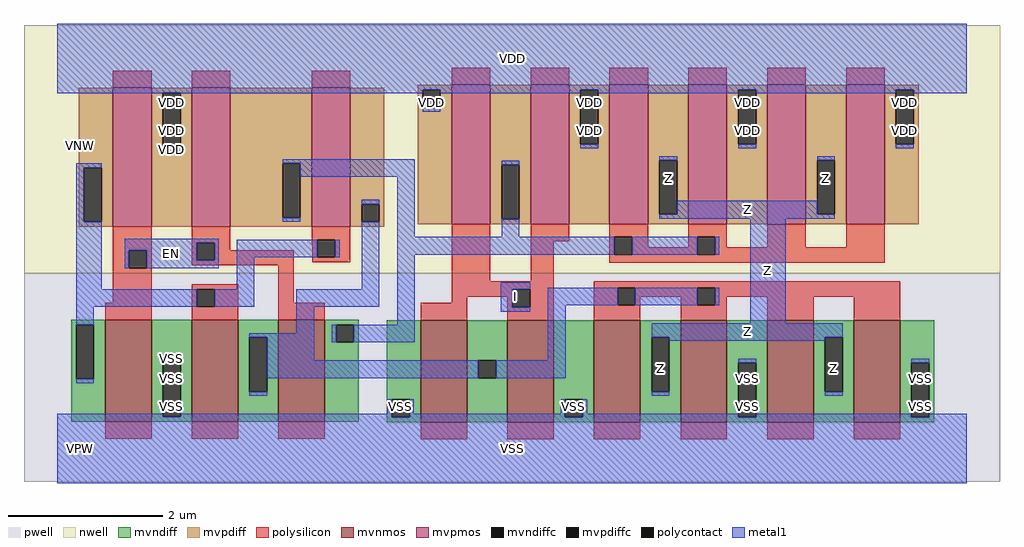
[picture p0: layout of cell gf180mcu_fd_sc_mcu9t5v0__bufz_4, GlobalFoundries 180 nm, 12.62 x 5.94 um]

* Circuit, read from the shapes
.subckt gf180mcu_fd_sc_mcu9t5v0__bufz_4 EN I Z VDD VNW VPW VSS
XM1 VSS EN n1 VPW nfet_06v0 w=1.32u l=0.6u
XM2 n2 n1 VSS VPW nfet_06v0 w=1.32u l=0.6u
XM3 n3 EN n2 VPW nfet_06v0 w=1.32u l=0.6u
XM4 n2 I VSS VPW nfet_06v0 w=1.32u l=0.6u m=2
XM5 Z n2 VSS VPW nfet_06v0 w=1.32u l=0.6u m=4
XM6 VDD EN n1 VNW pfet_06v0 w=1.8u l=0.5u
XM7 n3 EN VDD VNW pfet_06v0 w=1.8u l=0.5u
XM8 n2 n1 n3 VNW pfet_06v0 w=1.8u l=0.5u
XM9 n3 I VDD VNW pfet_06v0 w=1.8u l=0.5u m=2
XM10 Z n3 VDD VNW pfet_06v0 w=1.8u l=0.5u m=4
.ends

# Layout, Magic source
magic
tech gf180mcuD
magscale 1 10
<< nwell >>
rect -86 453 2438 1094
<< pwell >>
rect -86 -86 2438 453
<< mvnmos >>
rect 124 69 244 333
rect 348 69 468 333
rect 572 69 692 333
rect 940 68 1060 332
rect 1164 68 1284 332
rect 1388 68 1508 332
rect 1612 68 1732 332
rect 1836 68 1956 332
rect 2060 68 2180 332
<< mvpmos >>
rect 144 573 244 933
rect 348 573 448 933
rect 658 573 758 933
rect 1020 580 1120 940
rect 1224 580 1324 940
rect 1428 580 1528 940
rect 1632 580 1732 940
rect 1836 580 1936 940
rect 2040 580 2140 940
<< mvndiff >>
rect 36 320 124 333
rect 36 180 49 320
rect 95 180 124 320
rect 36 69 124 180
rect 244 222 348 333
rect 244 82 273 222
rect 319 82 348 222
rect 244 69 348 82
rect 468 287 572 333
rect 468 147 497 287
rect 543 147 572 287
rect 468 69 572 147
rect 692 320 780 333
rect 692 274 721 320
rect 767 274 780 320
rect 692 69 780 274
rect 852 127 940 332
rect 852 81 865 127
rect 911 81 940 127
rect 852 68 940 81
rect 1060 228 1164 332
rect 1060 182 1089 228
rect 1135 182 1164 228
rect 1060 68 1164 182
rect 1284 127 1388 332
rect 1284 81 1313 127
rect 1359 81 1388 127
rect 1284 68 1388 81
rect 1508 287 1612 332
rect 1508 147 1537 287
rect 1583 147 1612 287
rect 1508 68 1612 147
rect 1732 221 1836 332
rect 1732 81 1761 221
rect 1807 81 1836 221
rect 1732 68 1836 81
rect 1956 287 2060 332
rect 1956 147 1985 287
rect 2031 147 2060 287
rect 1956 68 2060 147
rect 2180 221 2268 332
rect 2180 81 2209 221
rect 2255 81 2268 221
rect 2180 68 2268 81
<< mvpdiff >>
rect 56 726 144 933
rect 56 586 69 726
rect 115 586 144 726
rect 56 573 144 586
rect 244 920 348 933
rect 244 780 273 920
rect 319 780 348 920
rect 244 573 348 780
rect 448 737 658 933
rect 448 597 583 737
rect 629 597 658 737
rect 448 573 658 597
rect 758 632 846 933
rect 758 586 787 632
rect 833 586 846 632
rect 758 573 846 586
rect 932 927 1020 940
rect 932 881 945 927
rect 991 881 1020 927
rect 932 580 1020 881
rect 1120 733 1224 940
rect 1120 593 1149 733
rect 1195 593 1224 733
rect 1120 580 1224 593
rect 1324 927 1428 940
rect 1324 787 1353 927
rect 1399 787 1428 927
rect 1324 580 1428 787
rect 1528 745 1632 940
rect 1528 605 1557 745
rect 1603 605 1632 745
rect 1528 580 1632 605
rect 1732 927 1836 940
rect 1732 787 1761 927
rect 1807 787 1836 927
rect 1732 580 1836 787
rect 1936 745 2040 940
rect 1936 605 1965 745
rect 2011 605 2040 745
rect 1936 580 2040 605
rect 2140 927 2228 940
rect 2140 787 2169 927
rect 2215 787 2228 927
rect 2140 580 2228 787
<< mvndiffc >>
rect 49 180 95 320
rect 273 82 319 222
rect 497 147 543 287
rect 721 274 767 320
rect 865 81 911 127
rect 1089 182 1135 228
rect 1313 81 1359 127
rect 1537 147 1583 287
rect 1761 81 1807 221
rect 1985 147 2031 287
rect 2209 81 2255 221
<< mvpdiffc >>
rect 69 586 115 726
rect 273 780 319 920
rect 583 597 629 737
rect 787 586 833 632
rect 945 881 991 927
rect 1149 593 1195 733
rect 1353 787 1399 927
rect 1557 605 1603 745
rect 1761 787 1807 927
rect 1965 605 2011 745
rect 2169 787 2215 927
<< polysilicon >>
rect 144 933 244 977
rect 348 933 448 977
rect 658 933 758 977
rect 1020 940 1120 984
rect 1224 940 1324 984
rect 1428 940 1528 984
rect 1632 940 1732 984
rect 1836 940 1936 984
rect 2040 940 2140 984
rect 144 512 244 573
rect 144 466 185 512
rect 231 466 244 512
rect 348 532 448 573
rect 348 486 361 532
rect 407 513 448 532
rect 658 540 758 573
rect 658 529 673 540
rect 407 486 612 513
rect 348 473 612 486
rect 660 494 673 529
rect 719 494 758 540
rect 660 481 758 494
rect 144 377 244 466
rect 124 333 244 377
rect 348 412 468 425
rect 348 366 361 412
rect 407 366 468 412
rect 348 333 468 366
rect 572 377 612 473
rect 1020 432 1120 580
rect 1224 536 1324 580
rect 1428 547 1528 580
rect 1224 432 1284 536
rect 1428 501 1441 547
rect 1487 520 1528 547
rect 1632 547 1732 580
rect 1632 520 1655 547
rect 1487 501 1655 520
rect 1701 520 1732 547
rect 1836 520 1936 580
rect 2040 520 2140 580
rect 1701 501 2140 520
rect 1428 480 2140 501
rect 1020 411 1284 432
rect 1020 392 1177 411
rect 572 333 692 377
rect 1020 376 1060 392
rect 940 332 1060 376
rect 1164 365 1177 392
rect 1223 365 1284 411
rect 1164 332 1284 365
rect 1388 416 2180 432
rect 1388 370 1449 416
rect 1495 392 1655 416
rect 1495 370 1508 392
rect 1388 332 1508 370
rect 1612 370 1655 392
rect 1701 392 2180 416
rect 1701 370 1732 392
rect 1612 332 1732 370
rect 1836 332 1956 392
rect 2060 332 2180 392
rect 124 25 244 69
rect 348 25 468 69
rect 572 25 692 69
rect 940 24 1060 68
rect 1164 24 1284 68
rect 1388 24 1508 68
rect 1612 24 1732 68
rect 1836 24 1956 68
rect 2060 24 2180 68
<< polycontact >>
rect 185 466 231 512
rect 361 486 407 532
rect 673 494 719 540
rect 361 366 407 412
rect 1441 501 1487 547
rect 1655 501 1701 547
rect 1177 365 1223 411
rect 1449 370 1495 416
rect 1655 370 1701 416
<< metal1 >>
rect 0 927 2352 1098
rect 0 920 945 927
rect 0 918 273 920
rect 319 918 945 920
rect 991 918 1353 927
rect 945 870 991 881
rect 273 769 319 780
rect 1399 918 1761 927
rect 1353 776 1399 787
rect 1807 918 2169 927
rect 1761 776 1807 787
rect 2215 918 2352 927
rect 2169 776 2215 787
rect 583 737 925 748
rect 1557 745 1603 756
rect 49 726 115 737
rect 49 586 69 726
rect 629 702 925 737
rect 583 586 629 597
rect 787 632 833 643
rect 49 412 115 586
rect 174 532 418 542
rect 174 512 361 532
rect 174 466 185 512
rect 231 486 361 512
rect 407 486 418 532
rect 231 466 418 486
rect 464 494 673 540
rect 719 494 730 540
rect 464 412 510 494
rect 787 412 833 586
rect 49 366 361 412
rect 407 366 510 412
rect 618 366 833 412
rect 879 547 925 702
rect 1149 733 1195 744
rect 1965 745 2011 756
rect 1603 605 1965 640
rect 1557 594 2011 605
rect 1149 547 1195 593
rect 879 501 1441 547
rect 1487 501 1655 547
rect 1701 501 1712 547
rect 49 320 95 366
rect 618 298 664 366
rect 879 320 925 501
rect 1147 411 1223 430
rect 1147 365 1177 411
rect 1147 354 1223 365
rect 1269 370 1449 416
rect 1495 370 1655 416
rect 1701 370 1712 416
rect 497 287 664 298
rect 49 169 95 180
rect 273 222 319 233
rect 0 82 273 90
rect 543 228 664 287
rect 710 274 721 320
rect 767 274 925 320
rect 1269 228 1315 370
rect 1792 324 1884 594
rect 543 182 1089 228
rect 1135 182 1315 228
rect 1537 287 2031 324
rect 497 136 543 147
rect 1583 278 1985 287
rect 1537 136 1583 147
rect 1761 221 1807 232
rect 854 90 865 127
rect 319 82 865 90
rect 0 81 865 82
rect 911 90 922 127
rect 1302 90 1313 127
rect 911 81 1313 90
rect 1359 90 1370 127
rect 1359 81 1761 90
rect 1985 136 2031 147
rect 2209 221 2255 232
rect 1807 81 2209 90
rect 2255 81 2352 90
rect 0 -90 2352 81
<< labels >>
flabel metal1 s 174 466 418 542 0 FreeSans 200 0 0 0 EN
port 1 nsew default input
flabel metal1 s 1147 354 1223 430 0 FreeSans 200 0 0 0 I
port 2 nsew default input
flabel metal1 s 0 918 2352 1098 0 FreeSans 200 0 0 0 VDD
port 4 nsew power bidirectional abutment
flabel metal1 s 273 232 319 233 0 FreeSans 200 0 0 0 VSS
port 7 nsew ground bidirectional abutment
flabel metal1 s 1965 640 2011 756 0 FreeSans 200 0 0 0 Z
port 3 nsew default output
flabel nwell s 10 734 110 834 0 FreeSans 400 0 0 0 VNW
port 5 nsew power bidirectional
flabel pwell s 10 -50 110 50 0 FreeSans 400 0 0 0 VPW
port 6 nsew ground bidirectional
rlabel metal1 s 1557 640 1603 756 1 Z
port 3 nsew default output
rlabel metal1 s 1557 594 2011 640 1 Z
port 3 nsew default output
rlabel metal1 s 1792 324 1884 594 1 Z
port 3 nsew default output
rlabel metal1 s 1537 278 2031 324 1 Z
port 3 nsew default output
rlabel metal1 s 1985 136 2031 278 1 Z
port 3 nsew default output
rlabel metal1 s 1537 136 1583 278 1 Z
port 3 nsew default output
rlabel metal1 s 2169 870 2215 918 1 VDD
port 4 nsew power bidirectional abutment
rlabel metal1 s 1761 870 1807 918 1 VDD
port 4 nsew power bidirectional abutment
rlabel metal1 s 1353 870 1399 918 1 VDD
port 4 nsew power bidirectional abutment
rlabel metal1 s 945 870 991 918 1 VDD
port 4 nsew power bidirectional abutment
rlabel metal1 s 273 870 319 918 1 VDD
port 4 nsew power bidirectional abutment
rlabel metal1 s 2169 776 2215 870 1 VDD
port 4 nsew power bidirectional abutment
rlabel metal1 s 1761 776 1807 870 1 VDD
port 4 nsew power bidirectional abutment
rlabel metal1 s 1353 776 1399 870 1 VDD
port 4 nsew power bidirectional abutment
rlabel metal1 s 273 776 319 870 1 VDD
port 4 nsew power bidirectional abutment
rlabel metal1 s 273 769 319 776 1 VDD
port 4 nsew power bidirectional abutment
rlabel metal1 s 2209 127 2255 232 1 VSS
port 7 nsew ground bidirectional abutment
rlabel metal1 s 1761 127 1807 232 1 VSS
port 7 nsew ground bidirectional abutment
rlabel metal1 s 273 127 319 232 1 VSS
port 7 nsew ground bidirectional abutment
rlabel metal1 s 2209 90 2255 127 1 VSS
port 7 nsew ground bidirectional abutment
rlabel metal1 s 1761 90 1807 127 1 VSS
port 7 nsew ground bidirectional abutment
rlabel metal1 s 1302 90 1370 127 1 VSS
port 7 nsew ground bidirectional abutment
rlabel metal1 s 854 90 922 127 1 VSS
port 7 nsew ground bidirectional abutment
rlabel metal1 s 273 90 319 127 1 VSS
port 7 nsew ground bidirectional abutment
rlabel metal1 s 0 -90 2352 90 1 VSS
port 7 nsew ground bidirectional abutment
<< properties >>
string FIXED_BBOX 0 0 2352 1008
string GDS_END 1348202
string GDS_FILE $PDKPATH/libs.ref/gf180mcu_fd_sc_mcu9t5v0/gds/gf180mcu_fd_sc_mcu9t5v0.gds
string GDS_START 1341654
string LEFclass core
string LEFsite GF018hv5v_green_sc9
string LEFsymmetry X Y
<< end >>
